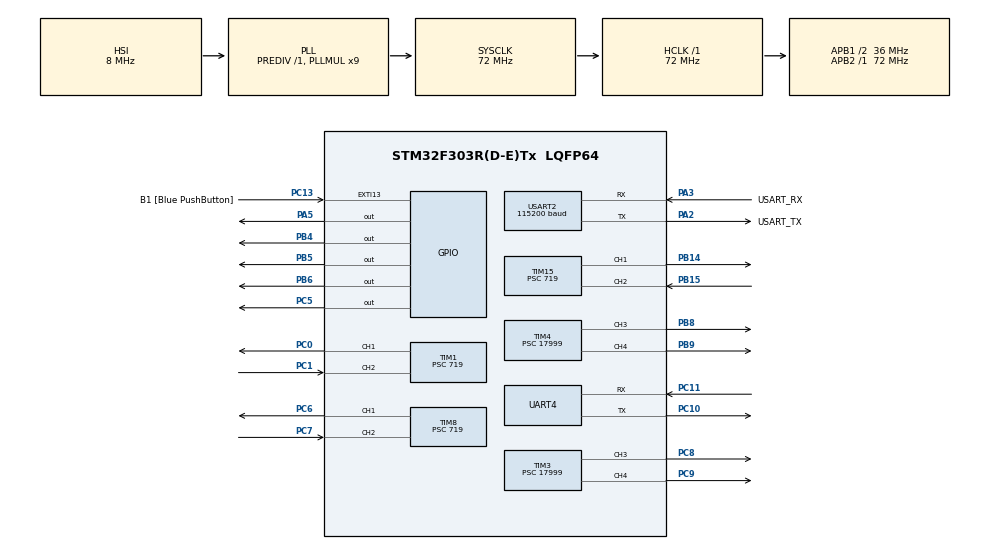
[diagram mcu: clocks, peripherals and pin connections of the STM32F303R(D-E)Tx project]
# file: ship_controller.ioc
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Mcu.Family=STM32F3
Mcu.Name=STM32F303R(D-E)Tx
Mcu.Package=LQFP64
NVIC.PriorityGroup=NVIC_PRIORITYGROUP_0
NVIC.TIM1_BRK_TIM15_IRQn=true\:0\:0\:false\:false\:true\:true
NVIC.TIM1_CC_IRQn=true\:0\:0\:false\:false\:true\:true
NVIC.TIM8_BRK_IRQn=true\:0\:0\:false\:false\:true\:true
NVIC.TIM8_CC_IRQn=true\:0\:0\:false\:false\:true\:true
NVIC.TIM8_TRG_COM_IRQn=true\:0\:0\:false\:false\:true\:true
NVIC.TIM8_UP_IRQn=true\:0\:0\:false\:false\:true\:true
NVIC.UART4_IRQn=true\:0\:0\:false\:false\:true\:true
NVIC.USART2_IRQn=true\:0\:0\:false\:false\:true\:true
PA13.GPIO_Label=TMS
PA13.Mode=Serial_Wire
PA13.Signal=SYS_JTMS-SWDIO
PA14.GPIO_Label=TCK
PA14.Mode=Serial_Wire
PA14.Signal=SYS_JTCK-SWCLK
PA2.GPIO_Label=USART_TX
PA2.GPIO_Mode=GPIO_MODE_AF_PP
PA2.GPIO_PuPd=GPIO_NOPULL
PA2.GPIO_Speed=GPIO_SPEED_FREQ_LOW
PA2.Mode=Asynchronous
PA2.Signal=USART2_TX
PA3.GPIO_Label=USART_RX
PA3.GPIO_Mode=GPIO_MODE_AF_PP
PA3.GPIO_PuPd=GPIO_NOPULL
PA3.GPIO_Speed=GPIO_SPEED_FREQ_LOW
PA3.Mode=Asynchronous
PA3.Signal=USART2_RX
PA5.Signal=GPIO_Output
PB14.Signal=S_TIM15_CH1
PB15.Signal=S_TIM15_CH2
PB3.GPIO_Label=SWO
PB3.Signal=SYS_JTDO-TRACESWO
PB4.Signal=GPIO_Output
PB5.Signal=GPIO_Output
PB6.Signal=GPIO_Output
PB8.GPIO_FM8=__NULL
PB8.Signal=S_TIM4_CH3
PB9.Signal=S_TIM4_CH4
PC0.Signal=S_TIM1_CH1
PC1.Signal=S_TIM1_CH2
PC10.Mode=Asynchronous
PC10.Signal=UART4_TX
PC11.Mode=Asynchronous
PC11.Signal=UART4_RX
PC13.GPIO_Label=B1 [Blue PushButton]
PC13.GPIO_ModeDefaultEXTI=GPIO_MODE_IT_FALLING
PC13.Signal=GPXTI13
PC14-OSC32_IN.Mode=LSE-External-Oscillator
PC14-OSC32_IN.Signal=RCC_OSC32_IN
PC15-OSC32_OUT.Mode=LSE-External-Oscillator
PC15-OSC32_OUT.Signal=RCC_OSC32_OUT
PC5.Signal=GPIO_Output
PC6.Signal=S_TIM8_CH1
PC7.Signal=S_TIM8_CH2
PC8.Signal=S_TIM3_CH3
PC9.Signal=S_TIM3_CH4
PF0-OSC_IN.Mode=HSE-External-Clock-Source
PF0-OSC_IN.Signal=RCC_OSC_IN
PF1-OSC_OUT.Signal=RCC_OSC_OUT
ProjectManager.HeapSize=0x200
ProjectManager.StackSize=0x400
ProjectManager.TargetToolchain=TrueSTUDIO
RCC.AHBFreq_Value=72000000
RCC.APB1CLKDivider=RCC_HCLK_DIV2
RCC.APB1Freq_Value=36000000
RCC.APB1TimFreq_Value=72000000
RCC.APB2Freq_Value=72000000
RCC.APB2TimFreq_Value=72000000
RCC.CortexFreq_Value=72000000
RCC.HCLKFreq_Value=72000000
RCC.HSE_VALUE=8000000
RCC.HSI_VALUE=8000000
RCC.PLLM=8
RCC.PLLMUL=RCC_PLL_MUL9
RCC.PLLN=336
RCC.PLLP=RCC_PLLP_DIV4
RCC.PLLQ=7
RCC.RCC_PLLsource_Clock_Source_FROM_HSE=RCC_HSE_PREDIV_DIV2
RCC.SYSCLKFreq_VALUE=72000000
RCC.SYSCLKSourceVirtual=RCC_SYSCLKSOURCE_PLLCLK
RCC.USBFreq_Value=72000000
SH.S_TIM15_CH1.0=TIM15_CH1,PWM Generation1 CH1
SH.S_TIM15_CH2.0=TIM15_CH2,Input_Capture2_from_TI2
SH.S_TIM1_CH1.0=TIM1_CH1,PWM Generation1 CH1
SH.S_TIM1_CH2.0=TIM1_CH2,Input_Capture2_from_TI2
SH.S_TIM3_CH3.0=TIM3_CH3,PWM Generation3 CH3
SH.S_TIM3_CH4.0=TIM3_CH4,PWM Generation4 CH4
SH.S_TIM4_CH3.0=TIM4_CH3,PWM Generation3 CH3
SH.S_TIM4_CH4.0=TIM4_CH4,PWM Generation4 CH4
SH.S_TIM8_CH1.0=TIM8_CH1,PWM Generation1 CH1
SH.S_TIM8_CH2.0=TIM8_CH2,Input_Capture2_from_TI2
TIM1.Channel-Input_Capture2_from_TI2=TIM_CHANNEL_2
TIM1.Channel-PWM\ Generation1\ CH1=TIM_CHANNEL_1
TIM1.ICPolarity_CH2=TIM_INPUTCHANNELPOLARITY_BOTHEDGE
TIM1.Period=10000
TIM1.Prescaler=719
TIM1.Pulse-PWM\ Generation1\ CH1=1
TIM15.Channel-Input_Capture2_from_TI2=TIM_CHANNEL_2
TIM15.Channel-PWM\ Generation1\ CH1=TIM_CHANNEL_1
TIM15.ICPolarity_CH2=TIM_INPUTCHANNELPOLARITY_BOTHEDGE
TIM15.Period=10000
TIM15.Prescaler=719
TIM15.Pulse-PWM\ Generation1\ CH1=1
TIM3.Channel-PWM\ Generation3\ CH3=TIM_CHANNEL_3
TIM3.Channel-PWM\ Generation4\ CH4=TIM_CHANNEL_4
TIM3.Period=9
TIM3.Prescaler=17999
TIM3.Pulse-PWM\ Generation3\ CH3=0
TIM3.Pulse-PWM\ Generation4\ CH4=0
TIM4.Channel-PWM\ Generation3\ CH3=TIM_CHANNEL_3
TIM4.Channel-PWM\ Generation4\ CH4=TIM_CHANNEL_4
TIM4.Period=9
TIM4.Prescaler=17999
TIM4.Pulse-PWM\ Generation3\ CH3=0
TIM4.Pulse-PWM\ Generation4\ CH4=0
TIM8.Channel-Input_Capture2_from_TI2=TIM_CHANNEL_2
TIM8.Channel-PWM\ Generation1\ CH1=TIM_CHANNEL_1
TIM8.ICPolarity_CH2=TIM_INPUTCHANNELPOLARITY_BOTHEDGE
TIM8.Period=10000
TIM8.Prescaler=719
TIM8.Pulse-PWM\ Generation1\ CH1=1
USART2.BaudRate=115200
USART2.VirtualMode-Asynchronous=VM_ASYNC
USART2.WordLength=WORDLENGTH_8B
board=NUCLEO-F303RE

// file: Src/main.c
/**
  ******************************************************************************
  * @file           : main.c
  * @brief          : Main program body
  ******************************************************************************
  ** This notice applies to any and all portions of this file
  * that are not between comment pairs USER CODE BEGIN and
  * USER CODE END. Other portions of this file, whether
  * inserted by the user or by software development tools
  * are owned by their respective copyright owners.
  *
  * COPYRIGHT(c) 2019 STMicroelectronics
  *
  * Redistribution and use in source and binary forms, with or without modification,
  * are permitted provided that the following conditions are met:
  *   1. Redistributions of source code must retain the above copyright notice,
  *      this list of conditions and the following disclaimer.
  *   2. Redistributions in binary form must reproduce the above copyright notice,
  *      this list of conditions and the following disclaimer in the documentation
  *      and/or other materials provided with the distribution.
  *   3. Neither the name of STMicroelectronics nor the names of its contributors
  *      may be used to endorse or promote products derived from this software
  *      without specific prior written permission.
  *
  * THIS SOFTWARE IS PROVIDED BY THE COPYRIGHT HOLDERS AND CONTRIBUTORS "AS IS"
  * AND ANY EXPRESS OR IMPLIED WARRANTIES, INCLUDING, BUT NOT LIMITED TO, THE
  * IMPLIED WARRANTIES OF MERCHANTABILITY AND FITNESS FOR A PARTICULAR PURPOSE ARE
  * DISCLAIMED. IN NO EVENT SHALL THE COPYRIGHT HOLDER OR CONTRIBUTORS BE LIABLE
  * FOR ANY DIRECT, INDIRECT, INCIDENTAL, SPECIAL, EXEMPLARY, OR CONSEQUENTIAL
  * DAMAGES (INCLUDING, BUT NOT LIMITED TO, PROCUREMENT OF SUBSTITUTE GOODS OR
  * SERVICES; LOSS OF USE, DATA, OR PROFITS; OR BUSINESS INTERRUPTION) HOWEVER
  * CAUSED AND ON ANY THEORY OF LIABILITY, WHETHER IN CONTRACT, STRICT LIABILITY,
  * OR TORT (INCLUDING NEGLIGENCE OR OTHERWISE) ARISING IN ANY WAY OUT OF THE USE
  * OF THIS SOFTWARE, EVEN IF ADVISED OF THE POSSIBILITY OF SUCH DAMAGE.
  *
  ******************************************************************************
  */
#include "main.h"
#include "stm32f3xx_hal.h"

/* USER CODE BEGIN Includes */
#include <ctype.h>
#include <string.h>
/* USER CODE END Includes */

TIM_HandleTypeDef htim1;
TIM_HandleTypeDef htim3;
TIM_HandleTypeDef htim4;
TIM_HandleTypeDef htim8;
TIM_HandleTypeDef htim15;

UART_HandleTypeDef huart4;
UART_HandleTypeDef huart2;

/* USER CODE BEGIN PV */
/* Private variables ---------------------------------------------------------*/
int flag = 1;
uint8_t rx_data = 'f';
uint8_t pulse_width = 0;
double front_distance = 40;
double last_front_distance = 40;
double left_distance = 40;
double last_left_distance = 40;
double right_distance = 40;
double last_right_distance = 40;
int front_rise = 1;
int right_rise = 1;
int left_rise = 1;
int isforward = 1;
int self_move = 1;
int speed = 10;
int left_side_threshold = 20;
int right_side_threshold = 20;
int turn_threshold = 70;
int delay_time = 900;
/* USER CODE END PV */

void SystemClock_Config(void);
static void MX_GPIO_Init(void);
static void MX_USART2_UART_Init(void);
static void MX_UART4_Init(void);
static void MX_TIM3_Init(void);
static void MX_TIM4_Init(void);
static void MX_TIM8_Init(void);
static void MX_TIM1_Init(void);
static void MX_TIM15_Init(void);
void HAL_TIM_MspPostInit(TIM_HandleTypeDef *htim);

/* USER CODE BEGIN PFP */
/* Private function prototypes -----------------------------------------------*/
void initwifi(void);
void turn_right(int binf,int bin,int ainf,int ain);
void turn_left(int binf,int bin,int ainf,int ain);
void forward(int input);
void backward(int input);
void stop();

/* USER CODE END PFP */

int main(void)
{

  /* MCU Configuration----------------------------------------------------------*/

  /* Reset of all peripherals, Initializes the Flash interface and the Systick. */
  HAL_Init();

  /* Configure the system clock */
  SystemClock_Config();

  /* Initialize all configured peripherals */
  MX_GPIO_Init();
  MX_USART2_UART_Init();
  MX_UART4_Init();
  MX_TIM3_Init();
  MX_TIM4_Init();
  MX_TIM8_Init();
  MX_TIM1_Init();
  MX_TIM15_Init();
  /* USER CODE BEGIN 2 */
	HAL_GPIO_WritePin(GPIOC, GPIO_PIN_5, GPIO_PIN_SET); // set nsleep to high voltage
	HAL_GPIO_WritePin(GPIOA, GPIO_PIN_5, GPIO_PIN_SET);
	HAL_GPIO_WritePin(GPIOB, GPIO_PIN_4, GPIO_PIN_RESET);
	HAL_GPIO_WritePin(GPIOB, GPIO_PIN_5, GPIO_PIN_RESET);
	HAL_GPIO_WritePin(GPIOB, GPIO_PIN_6, GPIO_PIN_RESET);
	HAL_TIM_PWM_Start(&htim3,TIM_CHANNEL_3); // AIN right wheel
	HAL_TIM_PWM_Start(&htim3,TIM_CHANNEL_4);
	HAL_TIM_PWM_Start(&htim4,TIM_CHANNEL_3); // BIN left wheel
	HAL_TIM_PWM_Start(&htim4,TIM_CHANNEL_4);

	HAL_TIM_PWM_Start(&htim8,TIM_CHANNEL_1);                  // trigger
	if(HAL_TIM_IC_Start_IT(&htim8,TIM_CHANNEL_2) != HAL_OK){  // echo
		Error_Handler();
	}
	HAL_Delay(3);
	HAL_TIM_PWM_Start(&htim1,TIM_CHANNEL_1);
	if(HAL_TIM_IC_Start_IT(&htim1,TIM_CHANNEL_2) != HAL_OK){
		Error_Handler();
	}
	HAL_Delay(3);
	HAL_TIM_PWM_Start(&htim15,TIM_CHANNEL_1);
	if(HAL_TIM_IC_Start_IT(&htim15,TIM_CHANNEL_2) != HAL_OK){
		Error_Handler();
	}

	HAL_UART_Receive_IT(&huart4,&rx_data,1);
	HAL_UART_Receive_IT(&huart2,&rx_data,1);
	initwifi();

  /* USER CODE END 2 */

  /* Infinite loop */
  /* USER CODE BEGIN WHILE */
	while (1){
		//uint8_t tmp[20];
		//sprintf(tmp,"%d %d\n\r",(int)left_distance,(int)last_left_distance);
		//HAL_UART_Transmit(&huart2,tmp,strlen((char*)tmp),0xFFFF);
		if(flag){
			if(rx_data == 'm'){ // self_move
				self_move = 1;
				speed = 5;
				//char tmp[] = " self move\n\r";
				//HAL_UART_Transmit(&huart2,(uint8_t*)tmp,strlen(tmp),0xFFFF);
			}
			else if(rx_data == 'c'){ // user control
				self_move = 0;
				speed = 5;
				//char tmp[] = " user control\n\r";
				//HAL_UART_Transmit(&huart2,(uint8_t*)tmp,strlen(tmp),0xFFFF);
			}
			else if(rx_data == 'r'){ // turn right
				turn_right(speed,0,0,0); // origin turn_right(speed,0,speed-2,0);
				HAL_GPIO_TogglePin(GPIOA, GPIO_PIN_5);
				//stop();
			}
			else if(rx_data == 'l'){
				turn_left(0,0,speed,0); // origin turn_left(speed-2,0,speed,0);
				HAL_GPIO_TogglePin(GPIOA, GPIO_PIN_5);
				//stop();
			}
			else if(rx_data == 'b'){
				backward(speed);
				HAL_GPIO_TogglePin(GPIOA, GPIO_PIN_5);
				//stop();
			}
			else if(rx_data == 'x'){
				stop();
				HAL_GPIO_TogglePin(GPIOA, GPIO_PIN_5);
			}
			else if(rx_data == 'f'){
				forward(speed);
				HAL_GPIO_TogglePin(GPIOA, GPIO_PIN_5);
				//stop();
			}
			else if(rx_data - '0' <= 5 && rx_data - '0' >= 0){ //(input >=0 && input <= 5){
				speed = rx_data - '0';
				forward(speed);
				HAL_GPIO_TogglePin(GPIOA, GPIO_PIN_5);
			}
			flag = 0;
		}

		if(self_move){
			/*
			if(front_distance != 0 && front_distance < 15 && (front_distance - last_front_distance) < 0 && isforward){ // hit front // origin front_distance < 5
				uint8_t tmp[20];
				sprintf(tmp," back %d\n\r",(int)front_distance);
				HAL_UART_Transmit(&huart2,tmp,strlen((char*)tmp),0xFFFF);
				HAL_GPIO_WritePin(GPIOB, GPIO_PIN_4, GPIO_PIN_SET);

				do
					backward(speed);
				while(front_distance < turn_threshold || last_front_distance < turn_threshold ); // front_distance < 10
				sprintf(tmp,"out\n\r");
				HAL_UART_Transmit(&huart2,tmp,strlen((char*)tmp),0xFFFF);
				HAL_GPIO_WritePin(GPIOB, GPIO_PIN_4, GPIO_PIN_RESET);

				forward(speed);
			}
			*/
			/*
			if(front_distance > turn_threshold && front_distance < 50 && isforward){ // hit front
				uint8_t tmp[20];
				sprintf(tmp,"reduce %d %lf\n\r",(int)front_distance,front_distance);
				HAL_UART_Transmit(&huart2,tmp,strlen((char*)tmp),0xFFFF);
				HAL_GPIO_WritePin(GPIOB, GPIO_PIN_4, GPIO_PIN_SET);
				backward(speed);
				HAL_Delay(500);
				forward(speed - 1);
				HAL_GPIO_WritePin(GPIOB, GPIO_PIN_4, GPIO_PIN_RESET);
			}
			*/

			if(front_distance != 0 && last_front_distance != 0 && front_distance < turn_threshold && (front_distance - last_front_distance) < 0 && isforward){ // hit front
				uint8_t tmp[20];
				sprintf(tmp,"front turn %d %d\n\r",(int)front_distance,(int)last_front_distance);
				HAL_UART_Transmit(&huart2,tmp,strlen((char*)tmp),0xFFFF);
				HAL_GPIO_WritePin(GPIOB, GPIO_PIN_4, GPIO_PIN_SET);
				if(right_distance < left_distance){
					sprintf(tmp,"turn left\n\r");
					HAL_UART_Transmit(&huart2,tmp,strlen((char*)tmp),0xFFFF);
					while((front_distance < turn_threshold || last_front_distance < turn_threshold) || (right_distance - last_right_distance) < 0) //|| (right_distance - last_right_distance) < 0)
						turn_left(0,speed,speed,0);
				}
				else{
					sprintf(tmp,"turn right\n\r");
					HAL_UART_Transmit(&huart2,tmp,strlen((char*)tmp),0xFFFF);
					while((front_distance < turn_threshold || last_front_distance < turn_threshold) || (left_distance - last_left_distance) < 0) // || (left_distance - last_left_distance) < 0)  && front_distance != last_front_distance
						turn_right(speed,0,0,speed);
				}
				sprintf(tmp,"out\n\r");
				HAL_UART_Transmit(&huart2,tmp,strlen((char*)tmp),0xFFFF);

				HAL_GPIO_WritePin(GPIOB, GPIO_PIN_4, GPIO_PIN_RESET);
				forward(speed);
			}

			if(right_distance != 0 && last_right_distance != 0 && (right_distance < right_side_threshold || last_right_distance < right_side_threshold ) && (right_distance - last_right_distance) < 0  && front_distance > turn_threshold && isforward){ // hit right
				uint8_t tmp[20];
				sprintf(tmp,"right stop %d %d\n\r",(int)right_distance,(int)last_right_distance);
				HAL_UART_Transmit(&huart2,tmp,strlen((char*)tmp),0xFFFF);

				HAL_GPIO_WritePin(GPIOB, GPIO_PIN_5, GPIO_PIN_SET);
				do
					turn_left(0,speed,speed-4,0); //turn_left(0,speed,speed,0); // origin (right_distance < 5)?turn_left(speed-2,0,speed+1,0):turn_left(speed-2,0,speed,0);
				while((right_distance - last_right_distance) < 0 && (right_distance < right_side_threshold || last_right_distance < right_side_threshold ) && front_distance > turn_threshold);//&& front_distance != last_front_distance
				/*
				if(right_distance == last_right_distance)
					do
						turn_left(0,speed,speed,0);//backward(speed);
					while(front_distance < 15 && front_distance != last_front_distance);
*/
				//(front_distance < 100)?turn_left(0,speed,speed,0):turn_left(speed-2,0,speed,0); //
				HAL_GPIO_WritePin(GPIOB, GPIO_PIN_5, GPIO_PIN_RESET);
				forward(speed);
			}
			if(left_distance != 0 && last_left_distance != 0 && (left_distance < left_side_threshold || last_left_distance < left_side_threshold ) && (left_distance - last_left_distance) < 0  && front_distance > turn_threshold && isforward){ // hit left
				uint8_t tmp[20];
				sprintf(tmp,"left stop %d %d\n\r",(int)left_distance,(int)last_left_distance);
				HAL_UART_Transmit(&huart2,tmp,strlen((char*)tmp),0xFFFF);

				HAL_GPIO_WritePin(GPIOB, GPIO_PIN_6, GPIO_PIN_SET);
				do
					turn_right(speed,0,0,speed); //turn_right(speed,0,0,speed); // (left_distance < 5)?turn_right(speed+1,0,speed-2,0):turn_right(speed,0,speed-2,0);
				while((left_distance - last_left_distance) < 0 && (left_distance < left_side_threshold || last_left_distance < left_side_threshold ) && front_distance > turn_threshold);// && front_distance != last_front_distance
				/*

				if(left_distance - last_left_distance)
					do
						turn_right(speed,0,0,speed);//backward(speed);
					while(front_distance < 15 && front_distance != last_front_distance);
				*/
				HAL_GPIO_WritePin(GPIOB, GPIO_PIN_6, GPIO_PIN_RESET);
				forward(speed);
			}
		}
  /* USER CODE END WHILE */

	}

}

void SystemClock_Config(void)
{

  RCC_OscInitTypeDef RCC_OscInitStruct;
  RCC_ClkInitTypeDef RCC_ClkInitStruct;
  RCC_PeriphCLKInitTypeDef PeriphClkInit;

    /**Initializes the CPU, AHB and APB busses clocks
    */
  RCC_OscInitStruct.OscillatorType = RCC_OSCILLATORTYPE_HSI;
  RCC_OscInitStruct.HSIState = RCC_HSI_ON;
  RCC_OscInitStruct.HSICalibrationValue = 16;
  RCC_OscInitStruct.PLL.PLLState = RCC_PLL_ON;
  RCC_OscInitStruct.PLL.PLLSource = RCC_PLLSOURCE_HSI;
  RCC_OscInitStruct.PLL.PLLMUL = RCC_PLL_MUL9;
  RCC_OscInitStruct.PLL.PREDIV = RCC_PREDIV_DIV1;
  if (HAL_RCC_OscConfig(&RCC_OscInitStruct) != HAL_OK)
  {
    _Error_Handler(__FILE__, __LINE__);
  }

    /**Initializes the CPU, AHB and APB busses clocks
    */
  RCC_ClkInitStruct.ClockType = RCC_CLOCKTYPE_HCLK|RCC_CLOCKTYPE_SYSCLK
                              |RCC_CLOCKTYPE_PCLK1|RCC_CLOCKTYPE_PCLK2;
  RCC_ClkInitStruct.SYSCLKSource = RCC_SYSCLKSOURCE_PLLCLK;
  RCC_ClkInitStruct.AHBCLKDivider = RCC_SYSCLK_DIV1;
  RCC_ClkInitStruct.APB1CLKDivider = RCC_HCLK_DIV2;
  RCC_ClkInitStruct.APB2CLKDivider = RCC_HCLK_DIV1;

  if (HAL_RCC_ClockConfig(&RCC_ClkInitStruct, FLASH_LATENCY_2) != HAL_OK)
  {
    _Error_Handler(__FILE__, __LINE__);
  }

  PeriphClkInit.PeriphClockSelection = RCC_PERIPHCLK_USART2|RCC_PERIPHCLK_UART4
                              |RCC_PERIPHCLK_TIM1|RCC_PERIPHCLK_TIM15
                              |RCC_PERIPHCLK_TIM8|RCC_PERIPHCLK_TIM34;
  PeriphClkInit.Usart2ClockSelection = RCC_USART2CLKSOURCE_PCLK1;
  PeriphClkInit.Uart4ClockSelection = RCC_UART4CLKSOURCE_PCLK1;
  PeriphClkInit.Tim1ClockSelection = RCC_TIM1CLK_HCLK;
  PeriphClkInit.Tim15ClockSelection = RCC_TIM15CLK_HCLK;
  PeriphClkInit.Tim8ClockSelection = RCC_TIM8CLK_HCLK;
  PeriphClkInit.Tim34ClockSelection = RCC_TIM34CLK_HCLK;
  if (HAL_RCCEx_PeriphCLKConfig(&PeriphClkInit) != HAL_OK)
  {
    _Error_Handler(__FILE__, __LINE__);
  }

    /**Configure the Systick interrupt time
    */
  HAL_SYSTICK_Config(HAL_RCC_GetHCLKFreq()/1000);

    /**Configure the Systick
    */
  HAL_SYSTICK_CLKSourceConfig(SYSTICK_CLKSOURCE_HCLK);

  /* SysTick_IRQn interrupt configuration */
  HAL_NVIC_SetPriority(SysTick_IRQn, 0, 0);
}

/* TIM1 init function */
static void MX_TIM1_Init(void)
{

  TIM_MasterConfigTypeDef sMasterConfig;
  TIM_OC_InitTypeDef sConfigOC;
  TIM_IC_InitTypeDef sConfigIC;
  TIM_BreakDeadTimeConfigTypeDef sBreakDeadTimeConfig;

  htim1.Instance = TIM1;
  htim1.Init.Prescaler = 719;
  htim1.Init.CounterMode = TIM_COUNTERMODE_UP;
  htim1.Init.Period = 10000;
  htim1.Init.ClockDivision = TIM_CLOCKDIVISION_DIV1;
  htim1.Init.RepetitionCounter = 0;
  htim1.Init.AutoReloadPreload = TIM_AUTORELOAD_PRELOAD_DISABLE;
  if (HAL_TIM_PWM_Init(&htim1) != HAL_OK)
  {
    _Error_Handler(__FILE__, __LINE__);
  }

  if (HAL_TIM_IC_Init(&htim1) != HAL_OK)
  {
    _Error_Handler(__FILE__, __LINE__);
  }

  sMasterConfig.MasterOutputTrigger = TIM_TRGO_RESET;
  sMasterConfig.MasterOutputTrigger2 = TIM_TRGO2_RESET;
  sMasterConfig.MasterSlaveMode = TIM_MASTERSLAVEMODE_DISABLE;
  if (HAL_TIMEx_MasterConfigSynchronization(&htim1, &sMasterConfig) != HAL_OK)
  {
    _Error_Handler(__FILE__, __LINE__);
  }

  sConfigOC.OCMode = TIM_OCMODE_PWM1;
  sConfigOC.Pulse = 1;
  sConfigOC.OCPolarity = TIM_OCPOLARITY_HIGH;
  sConfigOC.OCNPolarity = TIM_OCNPOLARITY_HIGH;
  sConfigOC.OCFastMode = TIM_OCFAST_DISABLE;
  sConfigOC.OCIdleState = TIM_OCIDLESTATE_RESET;
  sConfigOC.OCNIdleState = TIM_OCNIDLESTATE_RESET;
  if (HAL_TIM_PWM_ConfigChannel(&htim1, &sConfigOC, TIM_CHANNEL_1) != HAL_OK)
  {
    _Error_Handler(__FILE__, __LINE__);
  }

  sConfigIC.ICPolarity = TIM_INPUTCHANNELPOLARITY_BOTHEDGE;
  sConfigIC.ICSelection = TIM_ICSELECTION_DIRECTTI;
  sConfigIC.ICPrescaler = TIM_ICPSC_DIV1;
  sConfigIC.ICFilter = 0;
  if (HAL_TIM_IC_ConfigChannel(&htim1, &sConfigIC, TIM_CHANNEL_2) != HAL_OK)
  {
    _Error_Handler(__FILE__, __LINE__);
  }

  sBreakDeadTimeConfig.OffStateRunMode = TIM_OSSR_DISABLE;
  sBreakDeadTimeConfig.OffStateIDLEMode = TIM_OSSI_DISABLE;
  sBreakDeadTimeConfig.LockLevel = TIM_LOCKLEVEL_OFF;
  sBreakDeadTimeConfig.DeadTime = 0;
  sBreakDeadTimeConfig.BreakState = TIM_BREAK_DISABLE;
  sBreakDeadTimeConfig.BreakPolarity = TIM_BREAKPOLARITY_HIGH;
  sBreakDeadTimeConfig.BreakFilter = 0;
  sBreakDeadTimeConfig.Break2State = TIM_BREAK2_DISABLE;
  sBreakDeadTimeConfig.Break2Polarity = TIM_BREAK2POLARITY_HIGH;
  sBreakDeadTimeConfig.Break2Filter = 0;
  sBreakDeadTimeConfig.AutomaticOutput = TIM_AUTOMATICOUTPUT_DISABLE;
  if (HAL_TIMEx_ConfigBreakDeadTime(&htim1, &sBreakDeadTimeConfig) != HAL_OK)
  {
    _Error_Handler(__FILE__, __LINE__);
  }

  HAL_TIM_MspPostInit(&htim1);

}

/* TIM3 init function */
static void MX_TIM3_Init(void)
{

  TIM_MasterConfigTypeDef sMasterConfig;
  TIM_OC_InitTypeDef sConfigOC;

  htim3.Instance = TIM3;
  htim3.Init.Prescaler = 17999;
  htim3.Init.CounterMode = TIM_COUNTERMODE_UP;
  htim3.Init.Period = 9;
  htim3.Init.ClockDivision = TIM_CLOCKDIVISION_DIV1;
  htim3.Init.AutoReloadPreload = TIM_AUTORELOAD_PRELOAD_DISABLE;
  if (HAL_TIM_PWM_Init(&htim3) != HAL_OK)
  {
    _Error_Handler(__FILE__, __LINE__);
  }

  sMasterConfig.MasterOutputTrigger = TIM_TRGO_RESET;
  sMasterConfig.MasterSlaveMode = TIM_MASTERSLAVEMODE_DISABLE;
  if (HAL_TIMEx_MasterConfigSynchronization(&htim3, &sMasterConfig) != HAL_OK)
  {
    _Error_Handler(__FILE__, __LINE__);
  }

  sConfigOC.OCMode = TIM_OCMODE_PWM1;
  sConfigOC.Pulse = 0;
  sConfigOC.OCPolarity = TIM_OCPOLARITY_HIGH;
  sConfigOC.OCFastMode = TIM_OCFAST_DISABLE;
  if (HAL_TIM_PWM_ConfigChannel(&htim3, &sConfigOC, TIM_CHANNEL_3) != HAL_OK)
  {
    _Error_Handler(__FILE__, __LINE__);
  }

  if (HAL_TIM_PWM_ConfigChannel(&htim3, &sConfigOC, TIM_CHANNEL_4) != HAL_OK)
  {
    _Error_Handler(__FILE__, __LINE__);
  }

  HAL_TIM_MspPostInit(&htim3);

}

/* TIM4 init function */
static void MX_TIM4_Init(void)
{

  TIM_MasterConfigTypeDef sMasterConfig;
  TIM_OC_InitTypeDef sConfigOC;

  htim4.Instance = TIM4;
  htim4.Init.Prescaler = 17999;
  htim4.Init.CounterMode = TIM_COUNTERMODE_UP;
  htim4.Init.Period = 9;
  htim4.Init.ClockDivision = TIM_CLOCKDIVISION_DIV1;
  htim4.Init.AutoReloadPreload = TIM_AUTORELOAD_PRELOAD_DISABLE;
  if (HAL_TIM_PWM_Init(&htim4) != HAL_OK)
  {
    _Error_Handler(__FILE__, __LINE__);
  }

  sMasterConfig.MasterOutputTrigger = TIM_TRGO_RESET;
  sMasterConfig.MasterSlaveMode = TIM_MASTERSLAVEMODE_DISABLE;
  if (HAL_TIMEx_MasterConfigSynchronization(&htim4, &sMasterConfig) != HAL_OK)
  {
    _Error_Handler(__FILE__, __LINE__);
  }

  sConfigOC.OCMode = TIM_OCMODE_PWM1;
  sConfigOC.Pulse = 0;
  sConfigOC.OCPolarity = TIM_OCPOLARITY_HIGH;
  sConfigOC.OCFastMode = TIM_OCFAST_DISABLE;
  if (HAL_TIM_PWM_ConfigChannel(&htim4, &sConfigOC, TIM_CHANNEL_3) != HAL_OK)
  {
    _Error_Handler(__FILE__, __LINE__);
  }

  if (HAL_TIM_PWM_ConfigChannel(&htim4, &sConfigOC, TIM_CHANNEL_4) != HAL_OK)
  {
    _Error_Handler(__FILE__, __LINE__);
  }

  HAL_TIM_MspPostInit(&htim4);

}

/* TIM8 init function */
static void MX_TIM8_Init(void)
{

  TIM_MasterConfigTypeDef sMasterConfig;
  TIM_OC_InitTypeDef sConfigOC;
  TIM_IC_InitTypeDef sConfigIC;
  TIM_BreakDeadTimeConfigTypeDef sBreakDeadTimeConfig;

  htim8.Instance = TIM8;
  htim8.Init.Prescaler = 719;
  htim8.Init.CounterMode = TIM_COUNTERMODE_UP;
  htim8.Init.Period = 10000;
  htim8.Init.ClockDivision = TIM_CLOCKDIVISION_DIV1;
  htim8.Init.RepetitionCounter = 0;
  htim8.Init.AutoReloadPreload = TIM_AUTORELOAD_PRELOAD_DISABLE;
  if (HAL_TIM_PWM_Init(&htim8) != HAL_OK)
  {
    _Error_Handler(__FILE__, __LINE__);
  }

  if (HAL_TIM_IC_Init(&htim8) != HAL_OK)
  {
    _Error_Handler(__FILE__, __LINE__);
  }

  sMasterConfig.MasterOutputTrigger = TIM_TRGO_RESET;
  sMasterConfig.MasterOutputTrigger2 = TIM_TRGO2_RESET;
  sMasterConfig.MasterSlaveMode = TIM_MASTERSLAVEMODE_DISABLE;
  if (HAL_TIMEx_MasterConfigSynchronization(&htim8, &sMasterConfig) != HAL_OK)
  {
    _Error_Handler(__FILE__, __LINE__);
  }

  sConfigOC.OCMode = TIM_OCMODE_PWM1;
  sConfigOC.Pulse = 1;
  sConfigOC.OCPolarity = TIM_OCPOLARITY_HIGH;
  sConfigOC.OCNPolarity = TIM_OCNPOLARITY_HIGH;
  sConfigOC.OCFastMode = TIM_OCFAST_DISABLE;
  sConfigOC.OCIdleState = TIM_OCIDLESTATE_RESET;
  sConfigOC.OCNIdleState = TIM_OCNIDLESTATE_RESET;
  if (HAL_TIM_PWM_ConfigChannel(&htim8, &sConfigOC, TIM_CHANNEL_1) != HAL_OK)
  {
    _Error_Handler(__FILE__, __LINE__);
  }

  sConfigIC.ICPolarity = TIM_INPUTCHANNELPOLARITY_BOTHEDGE;
  sConfigIC.ICSelection = TIM_ICSELECTION_DIRECTTI;
  sConfigIC.ICPrescaler = TIM_ICPSC_DIV1;
  sConfigIC.ICFilter = 0;
  if (HAL_TIM_IC_ConfigChannel(&htim8, &sConfigIC, TIM_CHANNEL_2) != HAL_OK)
  {
    _Error_Handler(__FILE__, __LINE__);
  }

  sBreakDeadTimeConfig.OffStateRunMode = TIM_OSSR_DISABLE;
  sBreakDeadTimeConfig.OffStateIDLEMode = TIM_OSSI_DISABLE;
  sBreakDeadTimeConfig.LockLevel = TIM_LOCKLEVEL_OFF;
  sBreakDeadTimeConfig.DeadTime = 0;
  sBreakDeadTimeConfig.BreakState = TIM_BREAK_DISABLE;
  sBreakDeadTimeConfig.BreakPolarity = TIM_BREAKPOLARITY_HIGH;
  sBreakDeadTimeConfig.BreakFilter = 0;
  sBreakDeadTimeConfig.Break2State = TIM_BREAK2_DISABLE;
  sBreakDeadTimeConfig.Break2Polarity = TIM_BREAK2POLARITY_HIGH;
  sBreakDeadTimeConfig.Break2Filter = 0;
  sBreakDeadTimeConfig.AutomaticOutput = TIM_AUTOMATICOUTPUT_DISABLE;
  if (HAL_TIMEx_ConfigBreakDeadTime(&htim8, &sBreakDeadTimeConfig) != HAL_OK)
  {
    _Error_Handler(__FILE__, __LINE__);
  }

  HAL_TIM_MspPostInit(&htim8);

}

/* TIM15 init function */
static void MX_TIM15_Init(void)
{

  TIM_MasterConfigTypeDef sMasterConfig;
  TIM_OC_InitTypeDef sConfigOC;
  TIM_IC_InitTypeDef sConfigIC;
  TIM_BreakDeadTimeConfigTypeDef sBreakDeadTimeConfig;

  htim15.Instance = TIM15;
  htim15.Init.Prescaler = 719;
  htim15.Init.CounterMode = TIM_COUNTERMODE_UP;
  htim15.Init.Period = 10000;
  htim15.Init.ClockDivision = TIM_CLOCKDIVISION_DIV1;
  htim15.Init.RepetitionCounter = 0;
  htim15.Init.AutoReloadPreload = TIM_AUTORELOAD_PRELOAD_DISABLE;
  if (HAL_TIM_PWM_Init(&htim15) != HAL_OK)
  {
    _Error_Handler(__FILE__, __LINE__);
  }

  if (HAL_TIM_IC_Init(&htim15) != HAL_OK)
  {
    _Error_Handler(__FILE__, __LINE__);
  }

  sMasterConfig.MasterOutputTrigger = TIM_TRGO_RESET;
  sMasterConfig.MasterSlaveMode = TIM_MASTERSLAVEMODE_DISABLE;
  if (HAL_TIMEx_MasterConfigSynchronization(&htim15, &sMasterConfig) != HAL_OK)
  {
    _Error_Handler(__FILE__, __LINE__);
  }

  sConfigOC.OCMode = TIM_OCMODE_PWM1;
  sConfigOC.Pulse = 1;
  sConfigOC.OCPolarity = TIM_OCPOLARITY_HIGH;
  sConfigOC.OCNPolarity = TIM_OCNPOLARITY_HIGH;
  sConfigOC.OCFastMode = TIM_OCFAST_DISABLE;
  sConfigOC.OCIdleState = TIM_OCIDLESTATE_RESET;
  sConfigOC.OCNIdleState = TIM_OCNIDLESTATE_RESET;
  if (HAL_TIM_PWM_ConfigChannel(&htim15, &sConfigOC, TIM_CHANNEL_1) != HAL_OK)
  {
    _Error_Handler(__FILE__, __LINE__);
  }

  sConfigIC.ICPolarity = TIM_INPUTCHANNELPOLARITY_BOTHEDGE;
  sConfigIC.ICSelection = TIM_ICSELECTION_DIRECTTI;
  sConfigIC.ICPrescaler = TIM_ICPSC_DIV1;
  sConfigIC.ICFilter = 0;
  if (HAL_TIM_IC_ConfigChannel(&htim15, &sConfigIC, TIM_CHANNEL_2) != HAL_OK)
  {
    _Error_Handler(__FILE__, __LINE__);
  }

  sBreakDeadTimeConfig.OffStateRunMode = TIM_OSSR_DISABLE;
  sBreakDeadTimeConfig.OffStateIDLEMode = TIM_OSSI_DISABLE;
  sBreakDeadTimeConfig.LockLevel = TIM_LOCKLEVEL_OFF;
  sBreakDeadTimeConfig.DeadTime = 0;
  sBreakDeadTimeConfig.BreakState = TIM_BREAK_DISABLE;
  sBreakDeadTimeConfig.BreakPolarity = TIM_BREAKPOLARITY_HIGH;
  sBreakDeadTimeConfig.BreakFilter = 0;
  sBreakDeadTimeConfig.AutomaticOutput = TIM_AUTOMATICOUTPUT_DISABLE;
  if (HAL_TIMEx_ConfigBreakDeadTime(&htim15, &sBreakDeadTimeConfig) != HAL_OK)
  {
    _Error_Handler(__FILE__, __LINE__);
  }

  HAL_TIM_MspPostInit(&htim15);

}

/* UART4 init function */
static void MX_UART4_Init(void)
{

  huart4.Instance = UART4;
  huart4.Init.BaudRate = 115200;
  huart4.Init.WordLength = UART_WORDLENGTH_8B;
  huart4.Init.StopBits = UART_STOPBITS_1;
  huart4.Init.Parity = UART_PARITY_NONE;
  huart4.Init.Mode = UART_MODE_TX_RX;
  huart4.Init.HwFlowCtl = UART_HWCONTROL_NONE;
  huart4.Init.OverSampling = UART_OVERSAMPLING_16;
  huart4.Init.OneBitSampling = UART_ONE_BIT_SAMPLE_DISABLE;
  huart4.AdvancedInit.AdvFeatureInit = UART_ADVFEATURE_NO_INIT;
  if (HAL_UART_Init(&huart4) != HAL_OK)
  {
    _Error_Handler(__FILE__, __LINE__);
  }

}

/* USART2 init function */
static void MX_USART2_UART_Init(void)
{

  huart2.Instance = USART2;
  huart2.Init.BaudRate = 115200;
  huart2.Init.WordLength = UART_WORDLENGTH_8B;
  huart2.Init.StopBits = UART_STOPBITS_1;
  huart2.Init.Parity = UART_PARITY_NONE;
  huart2.Init.Mode = UART_MODE_TX_RX;
  huart2.Init.HwFlowCtl = UART_HWCONTROL_NONE;
  huart2.Init.OverSampling = UART_OVERSAMPLING_16;
  huart2.Init.OneBitSampling = UART_ONE_BIT_SAMPLE_DISABLE;
  huart2.AdvancedInit.AdvFeatureInit = UART_ADVFEATURE_NO_INIT;
  if (HAL_UART_Init(&huart2) != HAL_OK)
  {
    _Error_Handler(__FILE__, __LINE__);
  }

}

/** Configure pins as
        * Analog
        * Input
        * Output
        * EVENT_OUT
        * EXTI
*/
static void MX_GPIO_Init(void)
{

  GPIO_InitTypeDef GPIO_InitStruct;

  /* GPIO Ports Clock Enable */
  __HAL_RCC_GPIOC_CLK_ENABLE();
  __HAL_RCC_GPIOF_CLK_ENABLE();
  __HAL_RCC_GPIOA_CLK_ENABLE();
  __HAL_RCC_GPIOB_CLK_ENABLE();

  /*Configure GPIO pin Output Level */
  HAL_GPIO_WritePin(GPIOA, GPIO_PIN_5, GPIO_PIN_RESET);

  /*Configure GPIO pin Output Level */
  HAL_GPIO_WritePin(GPIOC, GPIO_PIN_5, GPIO_PIN_RESET);

  /*Configure GPIO pin Output Level */
  HAL_GPIO_WritePin(GPIOB, GPIO_PIN_4|GPIO_PIN_5|GPIO_PIN_6, GPIO_PIN_RESET);

  /*Configure GPIO pin : B1_Pin */
  GPIO_InitStruct.Pin = B1_Pin;
  GPIO_InitStruct.Mode = GPIO_MODE_IT_FALLING;
  GPIO_InitStruct.Pull = GPIO_NOPULL;
  HAL_GPIO_Init(B1_GPIO_Port, &GPIO_InitStruct);

  /*Configure GPIO pin : PA5 */
  GPIO_InitStruct.Pin = GPIO_PIN_5;
  GPIO_InitStruct.Mode = GPIO_MODE_OUTPUT_PP;
  GPIO_InitStruct.Pull = GPIO_NOPULL;
  GPIO_InitStruct.Speed = GPIO_SPEED_FREQ_LOW;
  HAL_GPIO_Init(GPIOA, &GPIO_InitStruct);

  /*Configure GPIO pin : PC5 */
  GPIO_InitStruct.Pin = GPIO_PIN_5;
  GPIO_InitStruct.Mode = GPIO_MODE_OUTPUT_PP;
  GPIO_InitStruct.Pull = GPIO_NOPULL;
  GPIO_InitStruct.Speed = GPIO_SPEED_FREQ_LOW;
  HAL_GPIO_Init(GPIOC, &GPIO_InitStruct);

  /*Configure GPIO pins : PB4 PB5 PB6 */
  GPIO_InitStruct.Pin = GPIO_PIN_4|GPIO_PIN_5|GPIO_PIN_6;
  GPIO_InitStruct.Mode = GPIO_MODE_OUTPUT_PP;
  GPIO_InitStruct.Pull = GPIO_NOPULL;
  GPIO_InitStruct.Speed = GPIO_SPEED_FREQ_LOW;
  HAL_GPIO_Init(GPIOB, &GPIO_InitStruct);

}

/* USER CODE BEGIN 4 */
void HAL_UART_RxCpltCallback(UART_HandleTypeDef *huart){
	if(huart == &huart4){
		flag = 1;
		HAL_UART_Transmit(&huart2,&rx_data,1,0xFFFF);
		//HAL_GPIO_TogglePin(LD2_GPIO_Port,LD2_Pin);
		HAL_UART_Receive_IT(&huart4,&rx_data,1);
	}
	if(huart == &huart2){
		HAL_UART_Transmit(&huart4,&rx_data,1,0xFFFF);
		//flag = 1;
		HAL_UART_Receive_IT(&huart2,&rx_data,1);
	}
}
void turn_right(int binf,int bin,int ainf,int ain){
	isforward = 1;
	TIM_OC_InitTypeDef sConfigOC;
	sConfigOC.OCMode = TIM_OCMODE_PWM1;
	sConfigOC.OCPolarity = TIM_OCPOLARITY_HIGH;
	sConfigOC.OCFastMode = TIM_OCFAST_DISABLE;
	//uint8_t tmp[] = " Turn Right\n\r";
	//HAL_UART_Transmit(&huart2,tmp,strlen((char*)tmp),0xFFFF);
	sConfigOC.Pulse = bin;
	if (HAL_TIM_PWM_ConfigChannel(&htim4, &sConfigOC, TIM_CHANNEL_4) != HAL_OK){ // BIN
		_Error_Handler(__FILE__, __LINE__);
	}
	HAL_TIM_PWM_Start(&htim4,TIM_CHANNEL_4);
	sConfigOC.Pulse = binf;
	if (HAL_TIM_PWM_ConfigChannel(&htim4, &sConfigOC, TIM_CHANNEL_3) != HAL_OK){
		_Error_Handler(__FILE__, __LINE__);
	}
	HAL_TIM_PWM_Start(&htim4,TIM_CHANNEL_3);

	sConfigOC.Pulse = ain;
	if (HAL_TIM_PWM_ConfigChannel(&htim3, &sConfigOC, TIM_CHANNEL_4) != HAL_OK){ // AIN
		_Error_Handler(__FILE__, __LINE__);
	}
	HAL_TIM_PWM_Start(&htim3,TIM_CHANNEL_4);
	sConfigOC.Pulse = ainf; // 2
	if (HAL_TIM_PWM_ConfigChannel(&htim3, &sConfigOC, TIM_CHANNEL_3) != HAL_OK){
		_Error_Handler(__FILE__, __LINE__);
	}
	HAL_TIM_PWM_Start(&htim3,TIM_CHANNEL_3);
}
void turn_left(int binf,int bin,int ainf,int ain){
	isforward = 1;
	TIM_OC_InitTypeDef sConfigOC;
	sConfigOC.OCMode = TIM_OCMODE_PWM1;
	sConfigOC.OCPolarity = TIM_OCPOLARITY_HIGH;
	sConfigOC.OCFastMode = TIM_OCFAST_DISABLE;
	//uint8_t tmp[] = " Turn Left\n\r";
	//HAL_UART_Transmit(&huart2,tmp,strlen((char*)tmp),0xFFFF);

	sConfigOC.Pulse = bin;
	if (HAL_TIM_PWM_ConfigChannel(&htim4, &sConfigOC, TIM_CHANNEL_4) != HAL_OK){ // BIN
		_Error_Handler(__FILE__, __LINE__);
	}
	HAL_TIM_PWM_Start(&htim4,TIM_CHANNEL_4);
	sConfigOC.Pulse = binf;  // 2
	if (HAL_TIM_PWM_ConfigChannel(&htim4, &sConfigOC, TIM_CHANNEL_3) != HAL_OK){
		_Error_Handler(__FILE__, __LINE__);
	}
	HAL_TIM_PWM_Start(&htim4,TIM_CHANNEL_3);

	sConfigOC.Pulse = ain;
	if (HAL_TIM_PWM_ConfigChannel(&htim3, &sConfigOC, TIM_CHANNEL_4) != HAL_OK){ // AIN
		_Error_Handler(__FILE__, __LINE__);
	}
	HAL_TIM_PWM_Start(&htim3,TIM_CHANNEL_4);
	sConfigOC.Pulse = ainf;
	if (HAL_TIM_PWM_ConfigChannel(&htim3, &sConfigOC, TIM_CHANNEL_3) != HAL_OK){
		_Error_Handler(__FILE__, __LINE__);
	}
	HAL_TIM_PWM_Start(&htim3,TIM_CHANNEL_3);
}
void backward(int input){
	isforward = 0;
	//uint8_t tmp[] = " backward\n\r";
	//HAL_UART_Transmit(&huart2,tmp,strlen((char*)tmp),0xFFFF);
	TIM_OC_InitTypeDef sConfigOC;
	sConfigOC.OCMode = TIM_OCMODE_PWM1;
	sConfigOC.OCPolarity = TIM_OCPOLARITY_HIGH;
	sConfigOC.OCFastMode = TIM_OCFAST_DISABLE;

	sConfigOC.Pulse = input;
	if (HAL_TIM_PWM_ConfigChannel(&htim4, &sConfigOC, TIM_CHANNEL_4) != HAL_OK){ // BIN
		_Error_Handler(__FILE__, __LINE__);
	}
	HAL_TIM_PWM_Start(&htim4,TIM_CHANNEL_4);
	sConfigOC.Pulse = 0;
	if (HAL_TIM_PWM_ConfigChannel(&htim4, &sConfigOC, TIM_CHANNEL_3) != HAL_OK){
		_Error_Handler(__FILE__, __LINE__);
	}
	HAL_TIM_PWM_Start(&htim4,TIM_CHANNEL_3);

	sConfigOC.Pulse = input - 2;
	if (HAL_TIM_PWM_ConfigChannel(&htim3, &sConfigOC, TIM_CHANNEL_4) != HAL_OK){ // AIN
		_Error_Handler(__FILE__, __LINE__);
	}
	HAL_TIM_PWM_Start(&htim3,TIM_CHANNEL_4);
	sConfigOC.Pulse = 0;
	if (HAL_TIM_PWM_ConfigChannel(&htim3, &sConfigOC, TIM_CHANNEL_3) != HAL_OK){
		_Error_Handler(__FILE__, __LINE__);
	}
	HAL_TIM_PWM_Start(&htim3,TIM_CHANNEL_3);
}
void stop(){
	isforward = 0;
	uint8_t tmp[] = " Stop\n\r";
	HAL_UART_Transmit(&huart2,tmp,strlen((char*)tmp),0xFFFF);
	TIM_OC_InitTypeDef sConfigOC;
	sConfigOC.OCMode = TIM_OCMODE_PWM1;
	sConfigOC.OCPolarity = TIM_OCPOLARITY_HIGH;
	sConfigOC.OCFastMode = TIM_OCFAST_DISABLE;

	sConfigOC.Pulse = 0;
	if (HAL_TIM_PWM_ConfigChannel(&htim4, &sConfigOC, TIM_CHANNEL_4) != HAL_OK){ // BIN
		_Error_Handler(__FILE__, __LINE__);
	}
	HAL_TIM_PWM_Start(&htim4,TIM_CHANNEL_4);
	sConfigOC.Pulse = 0;
	if (HAL_TIM_PWM_ConfigChannel(&htim4, &sConfigOC, TIM_CHANNEL_3) != HAL_OK){
		_Error_Handler(__FILE__, __LINE__);
	}
	HAL_TIM_PWM_Start(&htim4,TIM_CHANNEL_3);

	sConfigOC.Pulse = 0;
	if (HAL_TIM_PWM_ConfigChannel(&htim3, &sConfigOC, TIM_CHANNEL_4) != HAL_OK){ // AIN
		_Error_Handler(__FILE__, __LINE__);
	}
	HAL_TIM_PWM_Start(&htim3,TIM_CHANNEL_4);
	sConfigOC.Pulse = 0;
	if (HAL_TIM_PWM_ConfigChannel(&htim3, &sConfigOC, TIM_CHANNEL_3) != HAL_OK){
		_Error_Handler(__FILE__, __LINE__);
	}
	HAL_TIM_PWM_Start(&htim3,TIM_CHANNEL_3);
}
void forward(int input){
	isforward = 1;
	//uint8_t tmp[] = " forward\n\r";
	//HAL_UART_Transmit(&huart2,tmp,strlen((char*)tmp),0xFFFF);
	TIM_OC_InitTypeDef sConfigOC;
	sConfigOC.OCMode = TIM_OCMODE_PWM1;
	sConfigOC.OCPolarity = TIM_OCPOLARITY_HIGH;
	sConfigOC.OCFastMode = TIM_OCFAST_DISABLE;

	sConfigOC.Pulse = 0;
	if (HAL_TIM_PWM_ConfigChannel(&htim4, &sConfigOC, TIM_CHANNEL_4) != HAL_OK){ // BIN
		_Error_Handler(__FILE__, __LINE__);
	}
	HAL_TIM_PWM_Start(&htim4,TIM_CHANNEL_4);
	sConfigOC.Pulse = input;
	if (HAL_TIM_PWM_ConfigChannel(&htim4, &sConfigOC, TIM_CHANNEL_3) != HAL_OK){
		_Error_Handler(__FILE__, __LINE__);
	}
	HAL_TIM_PWM_Start(&htim4,TIM_CHANNEL_3);

	sConfigOC.Pulse = 0;
	if (HAL_TIM_PWM_ConfigChannel(&htim3, &sConfigOC, TIM_CHANNEL_4) != HAL_OK){ // AIN
		_Error_Handler(__FILE__, __LINE__);
	}
	HAL_TIM_PWM_Start(&htim3,TIM_CHANNEL_4);
	sConfigOC.Pulse = input - 2; //right
	if (HAL_TIM_PWM_ConfigChannel(&htim3, &sConfigOC, TIM_CHANNEL_3) != HAL_OK){
		_Error_Handler(__FILE__, __LINE__);
	}
	HAL_TIM_PWM_Start(&htim3,TIM_CHANNEL_3);
}

void initwifi(void){
	/*
	uint8_t tmp1[] = "AT\r\n";
	uint8_t tmp2[]= "AT+CWMODE=2\r\n";
	uint8_t tmp3[] = "AT+CWSAP=\"ESOE6\",";
	uint8_t tmp4[] = "\"123456789\",";
	uint8_t tmp5[] = "1,4\r\n";
	uint8_t tmp6[] = "AT+CIPMUX";
	uint8_t tmp7[] = "=1\r\n";
	uint8_t tmp8[] = "AT+CIPSE";
	uint8_t tmp9[] = "RVER=1,8080\r\n";
	uint8_t* cmd[] = {tmp1,tmp2,tmp3,tmp4,tmp5,tmp6,tmp7,tmp8,tmp9};

	for(int i = 0;i < 9;i++){
		HAL_UART_Transmit(&huart4,cmd[i],strlen((char*)cmd[i]),0xFFFF);
		HAL_Delay(1000);
	}*/

	uint8_t tmmp[] = "AT\r\nAT+CWMODE=2\r\nAT+CWSAP=\"jameschu\",\"123456789\",1,4\r\nAT+CIPMUX=1\r\nAT+CIPSERVER=1,8080\r\n";
	for(int i = 0;i < strlen((char*)tmmp);++i){
		HAL_UART_Transmit(&huart4,&tmmp[i],1,0xFFFF);
		HAL_Delay(10);
	}
}

void HAL_TIM_IC_CaptureCallback(TIM_HandleTypeDef *htim){
	if(htim == &htim8){
		if(front_rise == 1){
			__HAL_TIM_SET_COUNTER(&htim8,0);
			front_rise = 0;
		}
		else{

			last_front_distance = front_distance;
			front_distance = __HAL_TIM_GET_COUNTER(&htim8);
			front_distance /= 5.8;

			front_rise = 1;
		}
	}
	else if(htim == &htim1){
		if(right_rise == 1){
			__HAL_TIM_SET_COUNTER(&htim1,0);
			right_rise = 0;
		}
		else{

			last_right_distance = right_distance;
			right_distance = __HAL_TIM_GET_COUNTER(&htim1);
			right_distance /= 5.8;
			right_rise = 1;
		}
	}
	else if(htim == &htim15){
		if(left_rise == 1){
			__HAL_TIM_SET_COUNTER(&htim15,0);
			left_rise = 0;
		}
		else{

			last_left_distance = left_distance;
			left_distance = __HAL_TIM_GET_COUNTER(&htim15);
			left_distance /= 5.8;
			left_rise = 1;
		}
	}
}
/* USER CODE END 4 */

void _Error_Handler(char *file, int line)
{
	while(1)
	{
	}
}

/************************ (C) COPYRIGHT STMicroelectronics *****END OF FILE****/
